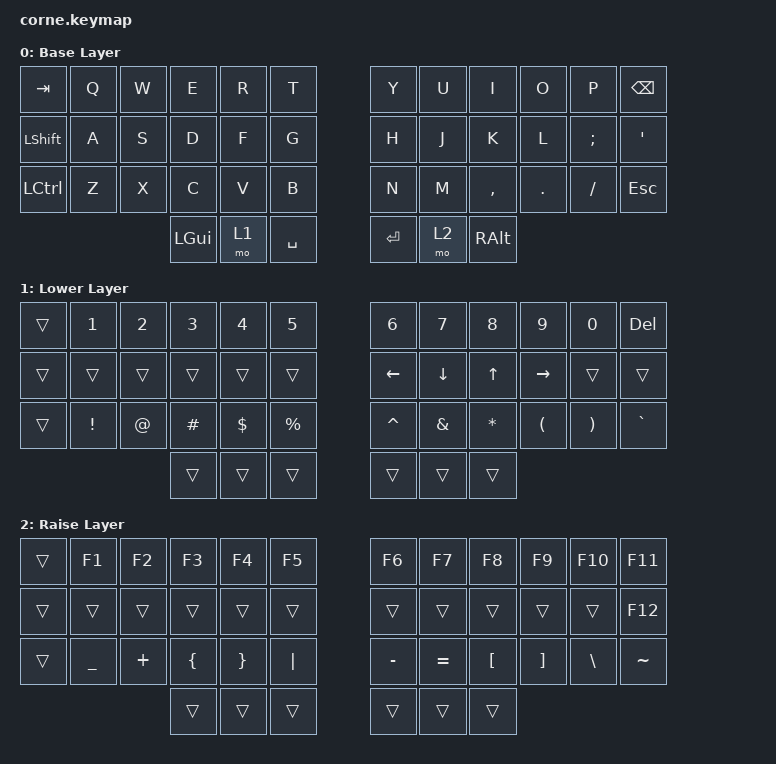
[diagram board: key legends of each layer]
#include <dt-bindings/led/led.h>

/* 1. Configure the SPI pin for the LEDs (nice_nano_v2 MOSI pin is P0.06) */

&pinctrl {
    spi3_default: spi3_default {
        group1 { psels = <NRF_PSEL(SPIM_MOSI, 0, 6)>; };
    };

    spi3_sleep: spi3_sleep {
        group1 {
            psels = <NRF_PSEL(SPIM_MOSI, 0, 6)>;
            low-power-enable;
        };
    };
};

&spi3 {
    compatible = "nordic,nrf-spim";
    status = "okay";
    pinctrl-0 = <&spi3_default>;
    pinctrl-1 = <&spi3_sleep>;
    pinctrl-names = "default", "sleep";

    led_strip: ws2812@0 {
        compatible = "worldsemi,ws2812-spi";
        reg = <0>;
        spi-max-frequency = <4000000>;
        chain-length = <27>;
        spi-one-frame = <0x70>;
        spi-zero-frame = <0x40>;
        color-mapping = <LED_COLOR_ID_GREEN LED_COLOR_ID_RED LED_COLOR_ID_BLUE>;
    };
};

/* 2. Tell ZMK to use this LED strip for underglow */

/ {
    chosen { zmk,underglow = &led_strip; };
};

#include <behaviors.dtsi>
#include <dt-bindings/zmk/keys.h>

/ {
    keymap {
        compatible = "zmk,keymap";

        base {
            display-name = "Base Layer";

            // -----------------------------------------------------------------------------------------
            // |  TAB |  Q  |  W  |  E  |  R  |  T  |   |  Y  |  U  |  I  |  O  |  P  | BSPC |
            // | CTRL |  A  |  S  |  D  |  F  |  G  |   |  H  |  J  |  K  |  L  |  ;  |  '   |
            // | SHFT |  Z  |  X  |  C  |  V  |  B  |   |  N  |  M  |  ,  |  .  |  /  | ESC  |
            //                  | GUI | LWR | SPC |   | ENT | RSE | ALT |

            bindings = <
&kp TAB     &kp Q  &kp W  &kp E     &kp R  &kp T        &kp Y    &kp U  &kp I      &kp O    &kp P     &kp BSPC
&kp LSHIFT  &kp A  &kp S  &kp D     &kp F  &kp G        &kp H    &kp J  &kp K      &kp L    &kp SEMI  &kp SQT
&kp LCTRL   &kp Z  &kp X  &kp C     &kp V  &kp B        &kp N    &kp M  &kp COMMA  &kp DOT  &kp FSLH  &kp ESC
                          &kp LGUI  &mo 1  &kp SPACE    &kp RET  &mo 2  &kp RALT
            >;
        };

        lower {
            display-name = "Lower Layer";

            // -----------------------------------------------------------------------------------------
            // |      |  1  |  2  |  3  |  4  |  5  |   |  6  |  7  |  8  |  9  |  0  | BSPC |
            // |  :   |  "  |  <  |  >  |  ?  |  ~  |   | LFT | DWN |  UP | RGT | DEL | RGB  |
            // |      |  !  |  @  |  #  |  $  |  %  |   |  ^  |  &  |  *  |  (  |  )  | RST  |
            //                  |     |     |     |   |     |     |     |

            bindings = <
&trans  &kp N1    &kp N2  &kp N3    &kp N4    &kp N5       &kp N6     &kp N7    &kp N8     &kp N9     &kp N0    &kp DELETE
&trans  &trans    &trans  &trans    &trans    &trans       &kp LEFT   &kp DOWN  &kp UP     &kp RIGHT  &trans    &trans
&trans  &kp EXCL  &kp AT  &kp HASH  &kp DLLR  &kp PRCNT    &kp CARET  &kp AMPS  &kp ASTRK  &kp LPAR   &kp RPAR  &kp GRAVE
                          &trans    &trans    &trans       &trans     &trans    &trans
            >;
        };

        raise {
            display-name = "Raise Layer";

            // -----------------------------------------------------------------------------------------
            // |      | F1  | F2  | F3  | F4  | F5  |   | F6  | F7  | F8  | F9  | F10 | F11  |
            // |      | CUT | COPY|PASTE|     |     |   | HOME| PGDN| PGUP| END |     | F12  |
            // |      |  _  |  +  |  {  |  }  |  |  |   |  -  |  =  |  [  |  ]  |  \  |  `   |
            //                  |     |     |     |   |     |     |     |

            bindings = <
&trans  &kp F1     &kp F2    &kp F3    &kp F4    &kp F5      &kp F6     &kp F7     &kp F8    &kp F9    &kp F10   &kp F11
&trans  &trans     &trans    &trans    &trans    &trans      &trans     &trans     &trans    &trans    &trans    &kp F12
&trans  &kp UNDER  &kp PLUS  &kp LBRC  &kp RBRC  &kp PIPE    &kp MINUS  &kp EQUAL  &kp LBKT  &kp RBKT  &kp BSLH  &kp TILDE
                             &trans    &trans    &trans      &trans     &trans     &trans
            >;
        };
    };
};
